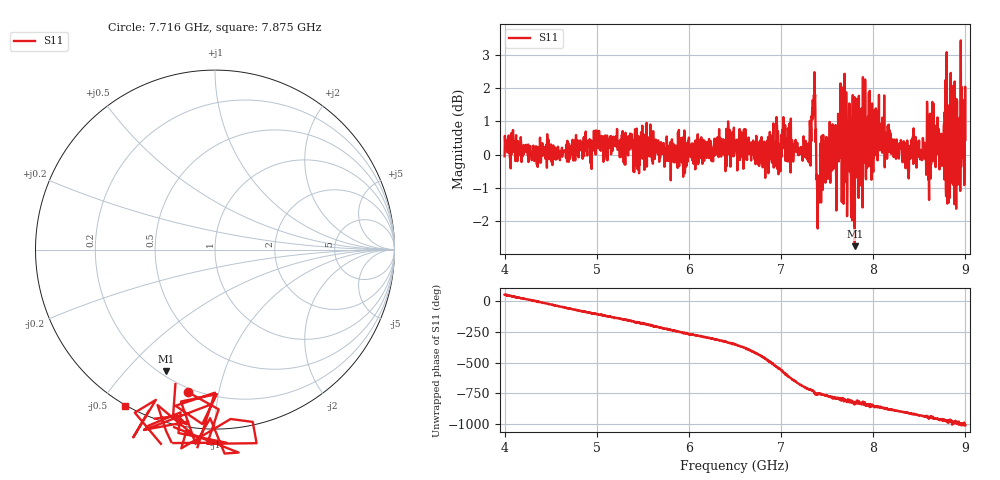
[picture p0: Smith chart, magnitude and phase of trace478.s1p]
! Created with skrf 1.8.0 (http://scikit-rf.org).
# Hz S RI R 50.0
!freq ReS11 ImS11
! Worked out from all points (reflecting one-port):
!   1601 points, 4 GHz to 9 GHz, reference 50 ohm
!   lowest |S11| = -2.7 dB at 7.8 GHz (marker M1), VSWR 6.39, Z = 11.3 - j32.5 ohm
!   phase of S11 starts at 51 deg and turns -1058 deg over the sweep
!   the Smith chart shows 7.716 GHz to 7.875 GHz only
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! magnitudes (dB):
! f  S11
! 4 GHz  0.0
! 4.625 GHz  -0.1
! 5.25 GHz  -0.1
! 5.875 GHz  0.0
! 6.5 GHz  0.4
! 6.809 GHz  0.2
! 7.025 GHz  1.1
! 7.125 GHz  0.2
! 7.294 GHz  -0.2
! 7.347 GHz  1.3
! 7.409 GHz  -1.4
! 7.453 GHz  -1.1
! 7.616 GHz  0.0
! 7.65 GHz  0.7
! 7.688 GHz  2.4
! 7.703 GHz  -0.4
! 7.731 GHz  -0.5
! 7.75 GHz  1.1
! 7.784 GHz  -0.4
! 7.8 GHz  -2.7
! 7.962 GHz  1.9
! 7.981 GHz  -0.7
! 8.375 GHz  0.2
! 8.734 GHz  0.5
! 8.819 GHz  0.1
! 8.875 GHz  0.7
! 8.956 GHz  0.0
! 9 GHz  0.4
